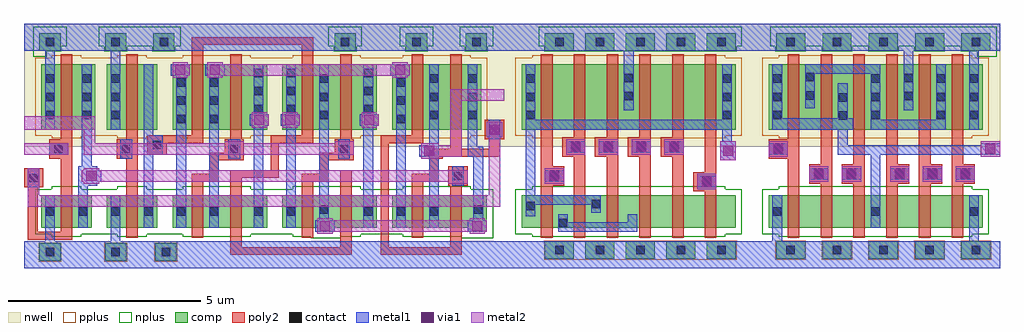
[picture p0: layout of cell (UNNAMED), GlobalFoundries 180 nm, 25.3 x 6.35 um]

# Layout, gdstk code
import gdstk
lib = gdstk.Library(unit=1e-6, precision=1e-09)
def R(c, l, rs):  # rectangles x0, y0, x1, y1
    for r in rs: c.add(gdstk.rectangle(r[:2], r[2:], *l))
def A(c, l, x, y, w, h, nx, ny, dx, dy):  # array of equal rectangles
    R(c, l, [(x+i*dx, y+j*dy, x+i*dx+w, y+j*dy+h) for i in range(nx) for j in range(ny)])
nwell = (21, 0)
comp = (22, 0)
poly2 = (30, 0)
pplus = (31, 0)
nplus = (32, 0)
contact = (33, 0)
metal1 = (34, 0)
via1 = (35, 0)
metal2 = (36, 0)

aoi33 = lib.new_cell('AOI33')
R(aoi33, nwell, [(5.3,3.15,11.75,6.35)])
A(aoi33, comp, 5.95, 0.25, 0.75, 0.45, 5, 2, 1.2, 5.4)
R(aoi33, comp, [(5.75,1.05,11.3,1.9), (5.75,3.6,11.3,5.3)])
A(aoi33, poly2, 7.1, 0.8, 0.3, 1.4, 5, 1, 0.85, 0)
A(aoi33, poly2, 8.8, 2.2, 0.6, 0.5, 3, 1, 0.85, 0)
A(aoi33, poly2, 7.1, 2.7, 0.3, 2.85, 5, 1, 0.85, 0)
R(aoi33, poly2, [(6.25,0.8,6.55,2.85), (6.8,2.2,7.4,2.7), (7.65,2.2,8.25,2.7), (5.75,2.85,6.55,3.35), (6.25,3.35,6.55,5.55)])
A(aoi33, pplus, 5.93, 0.23, 0.79, 0.49, 5, 1, 1.2, 0)
R(aoi33, pplus, [(6.02,3.37,11.03,3.44), (5.59,3.44,11.46,5.46), (6.02,5.46,11.03,5.53)])
A(aoi33, nplus, 5.93, 5.63, 0.79, 0.13, 4, 1, 1.2, 0)
R(aoi33, nplus, [(6.02,0.82,11.03,0.89), (5.59,0.89,11.46,2.06), (6.02,2.06,11.03,2.13), (11.16,5.49,11.66,5.63), (10.73,5.63,11.66,5.76), (5.79,5.76,11.66,6.26)])
A(aoi33, contact, 6.215, 0.365, 0.22, 0.22, 5, 2, 1.2, 5.4)
A(aoi33, contact, 5.865, 1.365, 0.22, 0.22, 3, 1, 2.55, 0)
A(aoi33, contact, 9.04, 2.34, 0.22, 0.22, 3, 1, 0.85, 0)
A(aoi33, contact, 5.865, 3.87, 0.22, 0.22, 1, 3, 0, 0.47)
A(aoi33, contact, 8.415, 3.87, 0.22, 0.22, 1, 3, 0, 0.47)
A(aoi33, contact, 10.115, 3.87, 0.22, 0.22, 1, 3, 0, 0.47)
A(aoi33, contact, 10.965, 3.87, 0.22, 0.22, 1, 3, 0, 0.47)
R(aoi33, contact, [(6.94,2.34,7.16,2.56), (7.79,2.34,8.01,2.56), (5.89,2.99,6.11,3.21), (7.565,3.855,7.785,4.075), (7.565,4.325,7.785,4.545), (9.265,4.355,9.485,4.575), (6.715,4.38,6.935,4.6), (9.265,4.825,9.485,5.045), (6.715,4.85,6.935,5.07)])
A(aoi33, metal1, 8.9, 2.3, 0.5, 0.3, 3, 1, 0.85, 0)
R(aoi33, metal1, [(5.3,0,11.75,0.7), (5.85,0.7,6.1,1.9), (10.95,0.7,11.2,1.9), (8.4,1.05,8.65,2.95), (6.8,2.3,7.3,2.6), (7.65,2.3,8.15,2.6), (5.75,2.95,6.25,3.25), (7.55,2.95,11.75,3.2), (7.55,3.2,7.8,3.6), (11.25,3.2,11.75,3.25), (5.85,3.6,7.95,3.9), (8.4,3.6,10.35,3.85), (10.95,3.6,11.2,5.65), (8.4,3.85,8.65,5.05), (10.1,3.85,10.35,5.3), (5.85,3.9,6.1,5.3), (7.55,3.9,7.8,4.8), (9.25,4.1,9.5,5.65), (6.7,4.15,6.95,5.05), (6.7,5.05,8.65,5.3), (5.3,5.65,11.75,6.35)])
A(aoi33, via1, 9.02, 2.32, 0.26, 0.26, 3, 1, 0.85, 0)
R(aoi33, via1, [(6.92,2.32,7.18,2.58), (7.77,2.32,8.03,2.58), (5.87,2.97,6.13,3.23), (11.37,2.97,11.63,3.23)])
A(aoi33, metal2, 8.9, 2.25, 0.5, 0.4, 3, 1, 0.85, 0)
R(aoi33, metal2, [(6.8,2.25,7.3,2.65), (7.65,2.25,8.15,2.65), (5.75,2.9,6.25,3.3), (11.25,2.9,11.75,3.3)])

oai33 = lib.new_cell('OAI33')
R(oai33, nwell, [(-3.1,3,3.35,6.2)])
A(oai33, comp, -2.05, 0.1, 0.75, 0.45, 5, 2, 1.05, 5.4)
R(oai33, comp, [(-2.65,0.9,2.9,1.75), (-2.65,3.45,2.9,5.15)])
A(oai33, poly2, -1.3, 0.65, 0.3, 2.1, 4, 1, 0.85, 0)
A(oai33, poly2, -1.6, 2.75, 0.6, 0.5, 4, 1, 0.85, 0)
A(oai33, poly2, -1.3, 3.25, 0.3, 2.15, 4, 1, 0.85, 0)
R(oai33, poly2, [(-2.15,0.65,-1.85,2), (2.1,0.65,2.4,1.85), (1.8,1.85,2.4,2.35), (-2.15,2,-1.55,2.5), (2.1,2.35,2.4,5.4), (-2.15,2.5,-1.85,5.4)])
R(oai33, pplus, [(-2.07,0.08,2.92,0.57), (-2.38,3.22,2.63,3.29), (-2.81,3.29,3.06,5.31), (-2.38,5.31,2.63,5.38)])
R(oai33, nplus, [(-2.38,0.67,2.63,0.74), (-2.81,0.74,3.06,1.91), (-2.38,1.91,2.63,1.98), (-2.07,5.48,2.92,5.61), (-2.21,5.61,3.06,6.11)])
A(oai33, contact, -1.785, 0.215, 0.22, 0.22, 5, 2, 1.05, 5.4)
A(oai33, contact, -1.36, 2.89, 0.22, 0.22, 4, 1, 0.85, 0)
A(oai33, contact, -2.535, 3.72, 0.22, 0.22, 1, 3, 0, 0.47)
A(oai33, contact, 2.565, 3.72, 0.22, 0.22, 1, 3, 0, 0.47)
R(oai33, contact, [(-1.685,0.915,-1.465,1.135), (-2.535,1.365,-2.315,1.585), (-0.835,1.415,-0.615,1.635), (2.04,1.99,2.26,2.21), (-1.91,2.14,-1.69,2.36), (0.015,4.205,0.235,4.425), (0.015,4.675,0.235,4.895)])
A(oai33, metal1, -1.5, 2.85, 0.5, 0.3, 4, 1, 0.85, 0)
R(oai33, metal1, [(-3.1,-0.15,3.35,0.55), (-1.7,0.8,0.35,1.05), (-1.7,1.05,-1.45,1.25), (0.1,1.05,0.35,1.25), (-2.55,1.2,-2.3,1.5), (-0.85,1.3,-0.6,1.5), (-2.55,1.5,-0.6,1.75), (-2.55,1.75,-2.3,3.45), (1.9,1.95,2.4,2.25), (-2.05,2.1,-1.55,2.4), (2.5,2.65,2.9,3.15), (2.55,3.15,2.8,3.45), (-2.55,3.45,2.8,3.7), (-2.55,3.7,-2.3,5.15), (2.55,3.7,2.8,5.15), (0,3.95,0.25,5.5), (-3.1,5.5,3.35,6.2)])
A(oai33, via1, -1.38, 2.87, 0.26, 0.26, 4, 1, 0.85, 0)
R(oai33, via1, [(2.02,1.97,2.28,2.23), (-1.93,2.12,-1.67,2.38), (2.57,2.77,2.83,3.03)])
A(oai33, metal2, -1.5, 2.8, 0.5, 0.4, 4, 1, 0.85, 0)
R(oai33, metal2, [(1.9,1.9,2.4,2.3), (-2.05,2.05,-1.55,2.45), (2.5,2.65,2.9,3.15)])

mux4 = lib.new_cell('MUX4')
R(mux4, nwell, [(-1.7,3.15,10.75,6.35)])
A(mux4, comp, 2.15, 1.05, 2.45, 0.85, 3, 1, 2.85, 0)
R(mux4, comp, [(-1.3,0.2,-0.75,0.65), (0.4,0.2,0.95,0.65), (1.7,0.2,2.25,0.65), (5.9,0.95,6.35,1.05), (9.8,0.95,10.3,1.05), (-1.25,1.05,0.05,1.9), (0.45,1.05,1.75,1.9), (-1.25,3.6,0.15,5.3), (0.45,3.6,1.75,5.3), (2.15,3.6,4.6,3.7), (5,3.6,7.45,3.7), (7.85,3.6,10.15,5), (2.15,3.7,4.65,4), (4.95,3.7,7.5,4), (2.15,4,4.6,5), (5,4,7.45,5.3), (2.1,5,4.6,5.3), (7.8,5,10.15,5.3), (-1.3,5.65,-0.75,6.1), (0.4,5.65,0.95,6.1), (1.65,5.65,2.2,6.1), (6.35,5.65,6.9,6.1), (8.2,5.65,8.75,6.1), (9.75,5.65,10.3,6.1)])
A(mux4, poly2, 2.65, 0.8, 0.3, 1.45, 3, 1, 2.85, 0)
A(mux4, poly2, 2.65, 2.25, 0.7, 0.2, 3, 1, 2.85, 0)
R(mux4, poly2, [(3.65,0.35,6.8,0.55), (7.55,0.35,9.65,0.55), (3.65,0.55,3.95,2.35), (6.5,0.55,6.8,2.55), (7.55,0.55,7.75,3.25), (9.35,0.55,9.65,2.15), (-1.6,0.75,-0.45,0.95), (0.95,0.8,1.25,2.85), (-1.6,0.95,-1.35,2.1), (-0.75,0.95,-0.45,2.85), (-1.7,2.1,-1.2,2.6), (9.3,2.15,9.8,2.65), (3.65,2.35,4.9,2.55), (3.1,2.45,3.35,2.8), (5.95,2.45,6.2,2.8), (8.8,2.45,9.05,2.85), (4.7,2.55,4.9,3.25), (3.1,2.8,4,3), (5.95,2.8,6.85,3), (-1.05,2.85,-0.45,3.35), (0.7,2.85,1.25,3.35), (8.8,2.85,9.15,2.9), (8.8,2.9,10.65,3.05), (1.5,2.95,2,3.25), (3.5,3,4,3.35), (6.35,3,6.85,3.35), (8.9,3.05,10.65,3.1), (9.35,3.1,9.65,5.55), (10.35,3.1,10.65,3.35), (1.5,3.25,2.95,3.45), (4.7,3.25,5.8,3.45), (7.55,3.25,8.65,3.45), (-0.75,3.35,-0.45,5.55), (0.95,3.35,1.25,5.55), (3.65,3.35,3.95,5.55), (6.5,3.35,6.8,5.55), (10.25,3.35,10.75,3.85), (2.65,3.45,2.95,5.8), (5.5,3.45,5.8,5.8), (8.35,3.45,8.65,5.55), (2.65,5.8,5.8,6)])
A(mux4, pplus, 2.42, 3.37, 1.76, 0.07, 3, 2, 2.85, 2.09)
R(mux4, pplus, [(-1.32,0.18,-0.73,0.67), (0.38,0.18,0.97,0.67), (1.68,0.18,2.27,0.67), (-0.98,3.37,-0.22,3.44), (0.72,3.37,1.48,3.44), (-1.41,3.44,10.31,5.46), (-0.98,5.46,-0.22,5.53), (0.72,5.46,1.48,5.53)])
A(mux4, nplus, 2.42, 2.06, 1.76, 0.07, 3, 1, 2.85, 0)
R(mux4, nplus, [(5.74,0.79,6.51,0.82), (9.64,0.79,10.46,0.82), (-0.98,0.82,-0.22,0.89), (0.72,0.82,1.48,0.89), (2.42,0.82,4.18,0.89), (5.27,0.82,7.03,0.89), (8.12,0.82,10.46,0.89), (-1.41,0.89,10.46,2.06), (-0.98,2.06,-0.22,2.13), (0.72,2.06,1.48,2.13), (-1.46,5.49,-1.11,5.63), (-1.46,5.63,-0.73,5.76), (0.38,5.63,0.97,5.76), (1.63,5.63,2.22,5.76), (6.33,5.63,6.92,5.76), (8.18,5.63,8.77,5.76), (9.73,5.63,10.32,5.76), (-1.46,5.76,-0.59,6.26), (0.24,5.76,2.36,6.26), (6.19,5.76,7.06,6.26), (8.04,5.76,8.91,6.26), (9.59,5.76,10.46,6.26)])
A(mux4, contact, -1.135, 1.365, 0.22, 0.22, 6, 1, 0.85, 0)
A(mux4, contact, 7.115, 1.365, 0.22, 0.22, 3, 1, 0.85, 0)
A(mux4, contact, 2.265, 3.77, 0.22, 0.22, 1, 3, 0, 0.47)
A(mux4, contact, 3.115, 3.77, 0.22, 0.22, 1, 3, 0, 0.47)
A(mux4, contact, 7.965, 3.77, 0.22, 0.22, 1, 3, 0, 0.47)
A(mux4, contact, -1.135, 3.87, 0.22, 0.22, 1, 3, 0, 0.47)
A(mux4, contact, -0.185, 3.87, 0.22, 0.22, 1, 3, 0, 0.47)
A(mux4, contact, 0.565, 3.87, 0.22, 0.22, 1, 3, 0, 0.47)
A(mux4, contact, 5.965, 3.87, 0.22, 0.22, 1, 3, 0, 0.47)
A(mux4, contact, 8.815, 3.87, 0.22, 0.22, 1, 3, 0, 0.47)
A(mux4, contact, 9.815, 3.87, 0.22, 0.22, 1, 3, 0, 0.47)
A(mux4, contact, 4.265, 4.02, 0.22, 0.22, 1, 3, 0, 0.47)
A(mux4, contact, 5.115, 4.02, 0.22, 0.22, 1, 3, 0, 0.47)
A(mux4, contact, 7.115, 4.02, 0.22, 0.22, 1, 3, 0, 0.47)
R(mux4, contact, [(-1.135,0.315,-0.915,0.535), (0.565,0.315,0.785,0.535), (1.865,0.315,2.085,0.535), (4.265,1.365,4.485,1.585), (5.115,1.365,5.335,1.585), (5.965,1.415,6.185,1.635), (9.965,1.415,10.185,1.635), (-1.56,2.24,-1.34,2.46), (9.44,2.29,9.66,2.51), (-0.91,2.99,-0.69,3.21), (0.84,2.99,1.06,3.21), (3.64,2.99,3.86,3.21), (6.49,2.99,6.71,3.21), (1.64,3.09,1.86,3.31), (-1.135,5.765,-0.915,5.985), (0.565,5.765,0.785,5.985), (1.815,5.765,2.035,5.985), (6.515,5.765,6.735,5.985), (8.365,5.765,8.585,5.985), (9.915,5.765,10.135,5.985)])
R(mux4, metal1, [(-1.7,0,10.75,0.7), (-1.15,0.7,-0.9,1.9), (0.55,0.7,0.8,1.9), (5.85,0.95,6.35,1.25), (9.8,0.95,10.3,1.25), (-0.3,1.05,-0.05,2.15), (1.4,1.05,1.65,2.95), (2.25,1.05,2.5,5), (3.1,1.05,3.35,5), (4.25,1.05,4.5,3.7), (5.1,1.05,5.35,3.7), (7.1,1.05,7.35,3.7), (7.95,1.05,8.2,5), (8.8,1.05,9.05,2.9), (5.95,1.25,6.2,5.3), (9.95,1.25,10.2,2.9), (-1.6,2.1,-1.3,2.6), (-0.3,2.15,0.2,2.25), (9.4,2.15,9.7,2.65), (-0.3,2.25,0.3,2.55), (-0.3,2.55,0.2,2.65), (-0.2,2.65,0.05,5.3), (0.8,2.85,1.1,3.35), (3.6,2.85,3.9,3.35), (6.45,2.85,6.75,3.35), (8.55,2.9,9.05,3.2), (9.8,2.9,10.2,3.15), (-1.05,2.95,-0.55,3.25), (1.4,2.95,1.9,3.45), (9.8,3.15,10.05,5.3), (8.8,3.2,9.05,5.3), (10.35,3.35,10.65,3.85), (1.4,3.45,1.65,5.3), (-1.15,3.6,-0.9,5.65), (0.55,3.6,0.8,5.65), (4.15,3.7,4.65,4), (4.95,3.7,5.45,4), (7,3.7,7.5,4), (4.25,4,4.5,5.3), (5.1,4,5.35,5.3), (7.1,4,7.35,5.3), (2.1,5,2.6,5.3), (3,5,3.5,5.3), (7.8,5,8.3,5.3), (-1.7,5.65,10.75,6.35)])
R(mux4, via1, [(5.97,0.97,6.23,1.23), (9.92,0.97,10.18,1.23), (-0.08,2.27,0.18,2.53), (8.67,2.92,8.93,3.18), (10.37,3.47,10.63,3.73), (4.27,3.72,4.53,3.98), (5.07,3.72,5.33,3.98), (7.12,3.72,7.38,3.98), (2.22,5.02,2.48,5.28), (3.12,5.02,3.38,5.28), (7.92,5.02,8.18,5.28)])
R(mux4, metal2, [(5.9,0.9,6.3,0.95), (9.85,0.9,10.25,0.95), (5.9,0.95,10.3,1.25), (5.9,1.25,6.3,1.3), (9.85,1.25,10.25,1.3), (-1.6,1.6,10.65,1.9), (-1.6,1.9,-1.3,2.6), (10.35,1.9,10.65,3.4), (-0.15,2.2,0.25,2.25), (9.3,2.2,9.8,2.25), (-0.2,2.25,9.8,2.55), (-0.15,2.55,0.25,2.6), (8.6,2.85,9.05,2.9), (8.6,2.9,9.65,3.2), (-1.7,2.95,-0.55,3.25), (-0.15,2.95,6.85,3.25), (8.6,3.2,9.05,3.25), (9.35,3.2,9.65,4.35), (-0.15,3.25,0.15,3.6), (3.5,3.25,4,3.3), (6.35,3.25,6.85,3.3), (10.3,3.4,10.7,3.8), (-1.7,3.6,0.15,3.95), (4.2,3.65,4.6,3.7), (5,3.65,5.4,3.7), (7.05,3.65,7.45,3.7), (4.2,3.7,4.65,4), (5,3.7,5.45,4), (7.05,3.7,7.5,4), (4.2,4,4.6,4.05), (5,4,5.4,4.05), (7.05,4,7.45,4.05), (9.35,4.35,10.75,4.65), (2.15,4.95,2.55,5), (3.05,4.95,3.45,5), (7.85,4.95,8.25,5), (2.15,5,2.6,5.3), (3.05,5,8.3,5.3), (2.15,5.3,2.55,5.35), (3.05,5.3,3.45,5.35), (7.85,5.3,8.25,5.35)])
mux4.add(gdstk.Label('C1', (-1.5,3.1), layer=36, texttype=0))
mux4.add(gdstk.Label('C0', (-1.5,3.775), layer=36, texttype=0))
mux4.add(gdstk.Label('X0', (2.35,5.15), layer=36, texttype=0))
mux4.add(gdstk.Label('X1', (4.4,3.85), layer=36, texttype=0))
mux4.add(gdstk.Label('X2', (5.2,3.85), layer=36, texttype=0))
mux4.add(gdstk.Label('X3', (7.25,3.85), layer=36, texttype=0))
mux4.add(gdstk.Label('Y', (8.8,3.05), layer=36, texttype=0))

c__unnamed_ = lib.new_cell('(UNNAMED)')
c__unnamed_.add(gdstk.Reference(aoi33, (13.55,0)))
c__unnamed_.add(gdstk.Reference(oai33, (15.55,0.15)))
c__unnamed_.add(gdstk.Reference(mux4, (1.7,0)))

lib.write_gds('_UNNAMED_.gds')
